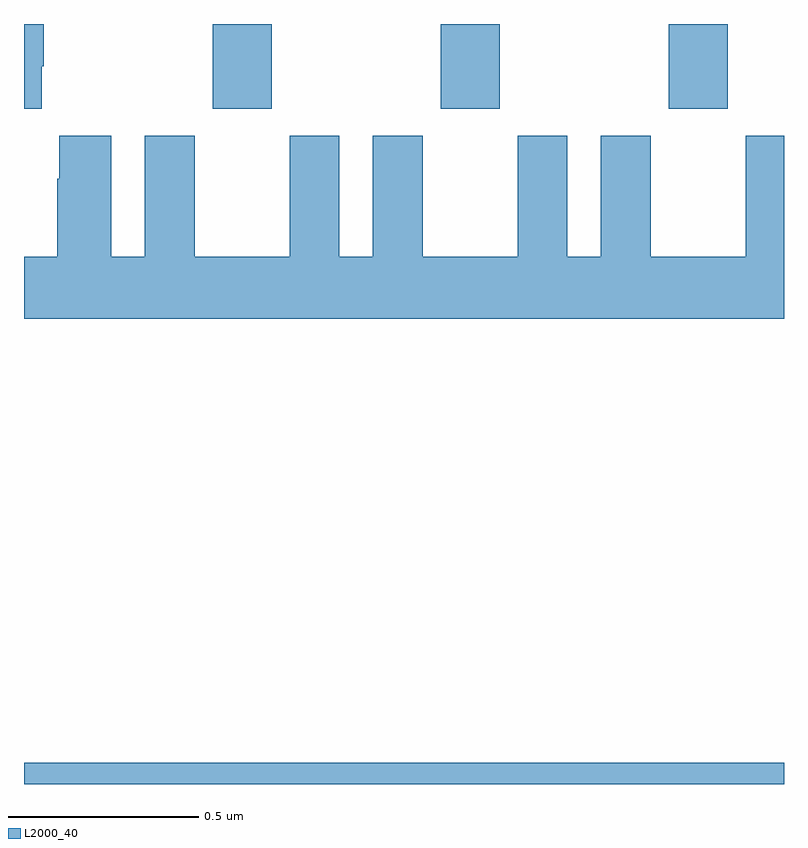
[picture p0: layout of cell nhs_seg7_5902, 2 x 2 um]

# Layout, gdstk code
import gdstk
lib = gdstk.Library(unit=1e-6, precision=1e-09)
def R(c, l, rs):  # rectangles x0, y0, x1, y1
    for r in rs: c.add(gdstk.rectangle(r[:2], r[2:], *l))
def A(c, l, x, y, w, h, nx, ny, dx, dy):  # array of equal rectangles
    R(c, l, [(x+i*dx, y+j*dy, x+i*dx+w, y+j*dy+h) for i in range(nx) for j in range(ny)])
def P(c, l, *ps):  # polygons
    for p in ps: c.add(gdstk.Polygon(p, *l))
L2000_40 = (2000, 40)

nhs_seg7_5902 = lib.new_cell('nhs_seg7_5902')
A(nhs_seg7_5902, L2000_40, 191.497, 1059.777, 0.155, 0.223, 3, 1, 0.6, 0)
R(nhs_seg7_5902, L2000_40, [(191,1058,193,1058.056)])
P(nhs_seg7_5902, L2000_40, [(191.047,1059.889),(191.052,1059.889),(191.052,1060),(191,1060),(191,1059.777),(191.047,1059.777)],
  [(193,1059.706),(192.899,1059.706),(192.899,1059.388),(192.649,1059.388),(192.649,1059.706),(192.518,1059.706),(192.518,1059.388),(192.43,1059.388),(192.43,1059.706),(192.299,1059.706),(192.299,1059.388),(192.049,1059.388),(192.049,1059.706),(191.918,1059.706),(191.918,1059.388),(191.83,1059.388),(191.83,1059.706),(191.699,1059.706),(191.699,1059.388),(191.449,1059.388),(191.449,1059.706),(191.318,1059.706),(191.318,1059.388),(191.23,1059.388),(191.23,1059.706),(191.093,1059.706),(191.093,1059.593),(191.087,1059.593),(191.087,1059.388),(191,1059.388),(191,1059.224),(193,1059.224)])

lib.write_gds('nhs_seg7_5902.gds')
